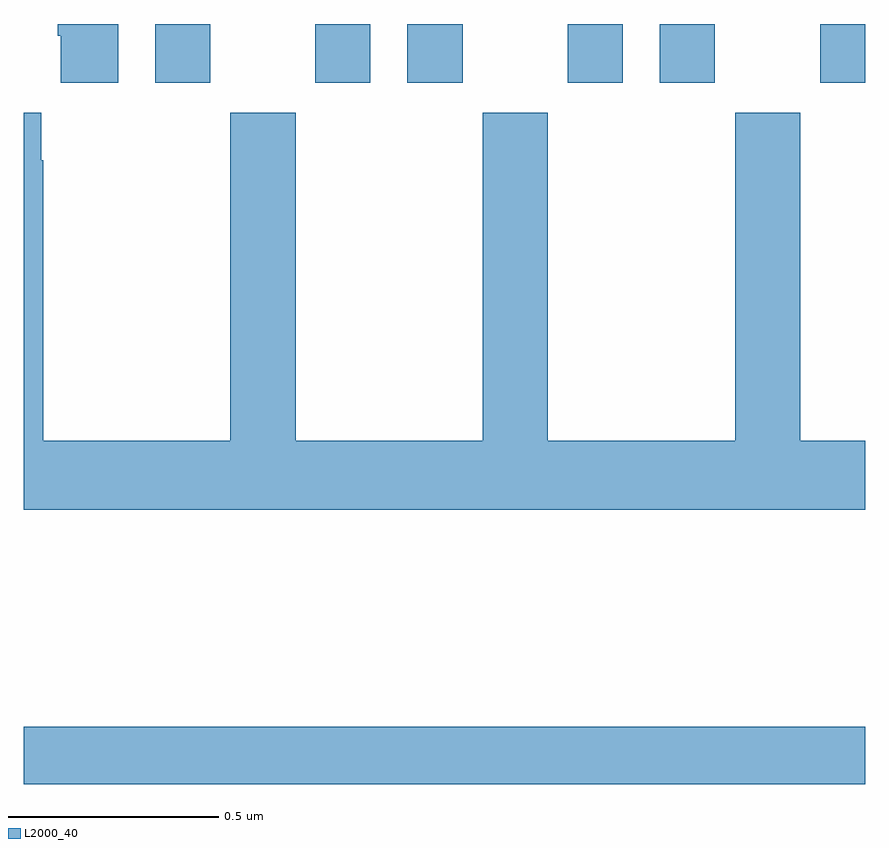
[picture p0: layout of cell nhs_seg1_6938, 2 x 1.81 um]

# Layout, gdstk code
import gdstk
lib = gdstk.Library(unit=1e-6, precision=1e-09)
def R(c, l, rs):  # rectangles x0, y0, x1, y1
    for r in rs: c.add(gdstk.rectangle(r[:2], r[2:], *l))
def P(c, l, *ps):  # polygons
    for p in ps: c.add(gdstk.Polygon(p, *l))
L2000_40 = (2000, 40)

nhs_seg1_6938 = lib.new_cell('nhs_seg1_6938')
R(nhs_seg1_6938, L2000_40, [(197,572.392,199,572.528), (197.312,574.059,197.443,574.199), (197.693,574.059,197.824,574.199), (197.912,574.059,198.043,574.199), (198.293,574.059,198.424,574.199), (198.512,574.059,198.643,574.199), (198.893,574.059,199,574.199)])
P(nhs_seg1_6938, L2000_40, [(197.224,574.199),(197.081,574.199),(197.081,574.171),(197.087,574.171),(197.087,574.059),(197.224,574.059)],
  [(199,573.208),(198.846,573.208),(198.846,573.988),(198.691,573.988),(198.691,573.208),(198.246,573.208),(198.246,573.988),(198.091,573.988),(198.091,573.208),(197.646,573.208),(197.646,573.988),(197.491,573.988),(197.491,573.208),(197.046,573.208),(197.046,573.875),(197.041,573.875),(197.041,573.988),(197,573.988),(197,573.044),(199,573.044)])

lib.write_gds('nhs_seg1_6938.gds')
